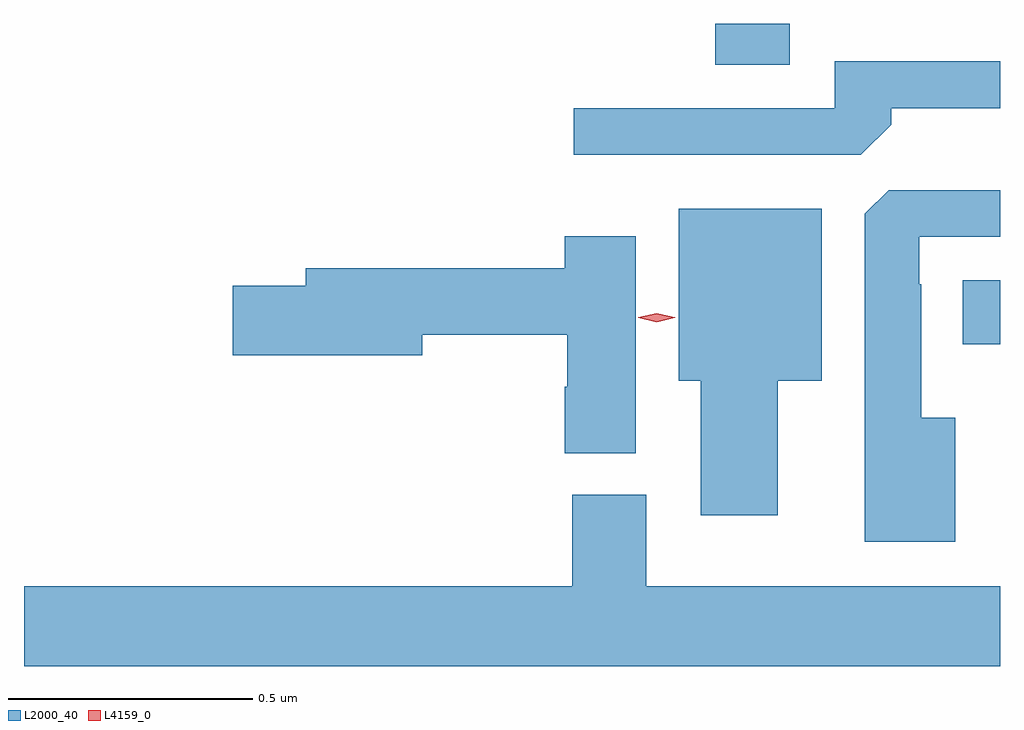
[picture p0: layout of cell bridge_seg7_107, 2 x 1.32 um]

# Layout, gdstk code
import gdstk
lib = gdstk.Library(unit=1e-6, precision=1e-09)
def R(c, l, rs):  # rectangles x0, y0, x1, y1
    for r in rs: c.add(gdstk.rectangle(r[:2], r[2:], *l))
def P(c, l, *ps):  # polygons
    for p in ps: c.add(gdstk.Polygon(p, *l))
L2000_40 = (2000, 40)
L4159_0 = (4159, 0)

bridge_seg7_107 = lib.new_cell('bridge_seg7_107')
R(bridge_seg7_107, L2000_40, [(1063.49,1015.928,1063.566,1016.059), (1062.983,1016.501,1063.135,1016.585)])
P(bridge_seg7_107, L2000_40, [(1063.343,1016.378),(1063.343,1016.412),(1063.566,1016.412),(1063.566,1016.508),(1063.227,1016.508),(1063.227,1016.412),(1062.693,1016.412),(1062.693,1016.316),(1063.281,1016.316)],
  [(1063.474,1015.777),(1063.405,1015.777),(1063.405,1016.051),(1063.401,1016.051),(1063.401,1016.148),(1063.566,1016.148),(1063.566,1016.244),(1063.338,1016.244),(1063.289,1016.195),(1063.289,1015.523),(1063.474,1015.523)],
  [(1063.111,1015.853),(1063.201,1015.853),(1063.201,1016.206),(1062.908,1016.206),(1062.908,1015.853),(1062.953,1015.853),(1062.953,1015.578),(1063.111,1015.578)],
  [(1062.82,1016.149),(1062.674,1016.149),(1062.674,1016.084),(1062.143,1016.084),(1062.143,1016.048),(1061.994,1016.048),(1061.994,1015.906),(1062.382,1015.906),(1062.382,1015.948),(1062.679,1015.948),(1062.679,1015.841),(1062.674,1015.841),(1062.674,1015.705),(1062.82,1015.705)],
  [(1063.566,1015.432),(1062.841,1015.432),(1062.841,1015.62),(1062.689,1015.62),(1062.689,1015.432),(1061.566,1015.432),(1061.566,1015.268),(1063.566,1015.268)])
P(bridge_seg7_107, L4159_0, [(1062.863,1015.973),(1062.825,1015.982),(1062.825,1015.982),(1062.825,1015.983),(1062.863,1015.992),(1062.9,1015.983),(1062.901,1015.983),(1062.9,1015.982)])

lib.write_gds('bridge_seg7_107.gds')
